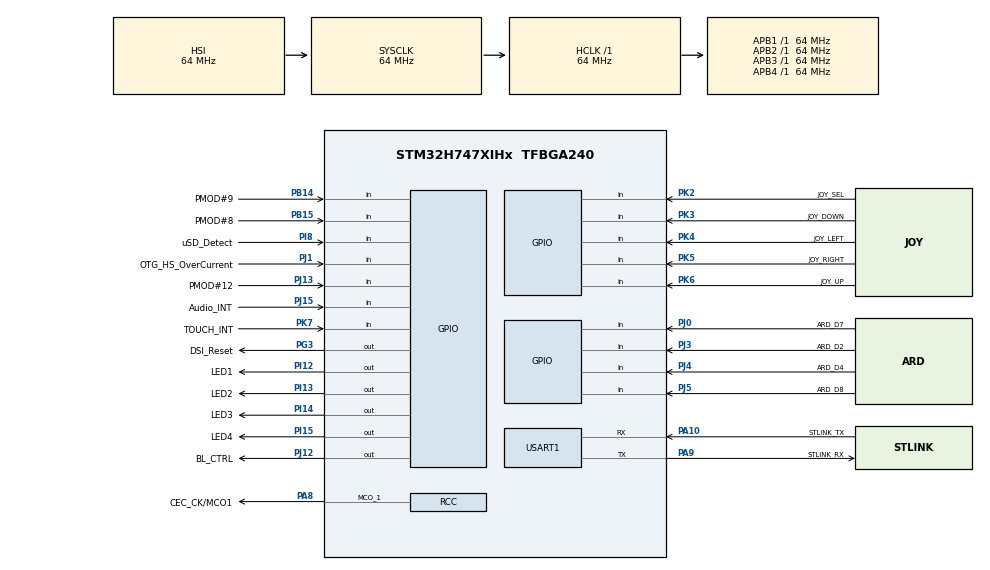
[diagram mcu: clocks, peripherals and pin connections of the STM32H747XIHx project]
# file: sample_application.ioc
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CortexM4.IPs=BDMA,DMA,FATFS_M4\:I,FREERTOS_M4\:I,IWDG2\:I,MDMA,NVIC2\:I,RCC,USB_DEVICE_M4\:I,USB_HOST_M4\:I,WWDG2\:I,DEBUG,PDM2PCM_M4\:I,PWR,RESMGR_UTILITY,SYS_M4\:I,CORTEX_M4\:I,OPENAMP_M4\:I,VREFBUF,GPIO
CortexM7.IPs=BDMA\:I,DMA\:I,FATFS_M7\:I,FREERTOS_M7\:I,IWDG1\:I,MDMA\:I,NVIC1\:I,RCC\:I,USB_DEVICE_M7\:I,USB_HOST_M7\:I,WWDG1\:I,USART1\:I,CORTEX_M7\:I,DEBUG\:I,PDM2PCM_M7\:I,PWR\:I,RESMGR_UTILITY\:I,SYS\:I,OPENAMP_M7\:I,VREFBUF\:I,GPIO\:I
CortexM7.Pins=PI12,PI13,PI14,PI15
DSI_CKN.Signal=DSIHOST_CKN
DSI_CKP.Signal=DSIHOST_CKP
DSI_D0N.Signal=DSIHOST_D0N
DSI_D0P.Signal=DSIHOST_D0P
DSI_D1N.Signal=DSIHOST_D1N
DSI_D1P.Signal=DSIHOST_D1P
Mcu.Family=STM32H7
Mcu.Name=STM32H747XIHx
Mcu.Package=TFBGA240
NVIC1.PriorityGroup=NVIC_PRIORITYGROUP_4
NVIC2.PriorityGroup=NVIC_PRIORITYGROUP_4
PA0_C.GPIO_Label=ARD_A2
PA0_C.PinAttribute=CortexM4
PA0_C.Signal=ADCx_INP0
PA1.GPIO_Label=ETH_REF_CLK
PA1.PinAttribute=CortexM4
PA1.Signal=ETH_REF_CLK
PA10.GPIO_Label=STLINK_TX
PA10.Mode=Asynchronous
PA10.PinAttribute=CortexM7
PA10.Signal=USART1_RX
PA11.GPIO_Label=PMOD\#1
PA11.PinAttribute=CortexM4
PA11.Signal=SPI2_NSS
PA12.GPIO_Label=SPI2_SCK
PA12.PinAttribute=CortexM4
PA12.Signal=SPI2_SCK
PA1_C.GPIO_Label=ARD_A3
PA1_C.PinAttribute=CortexM4
PA1_C.Signal=ADCx_INP1
PA2.GPIO_Label=ETH_MDIO
PA2.PinAttribute=CortexM4
PA2.Signal=ETH_MDIO
PA3.GPIO_Label=ULPI_D0
PA3.PinAttribute=CortexM4
PA3.Signal=USB_OTG_HS_ULPI_D0
PA5.GPIO_Label=ULPI_CK
PA5.PinAttribute=CortexM4
PA5.Signal=USB_OTG_HS_ULPI_CK
PA7.GPIO_Label=ETH_CRS_DV
PA7.PinAttribute=CortexM4
PA7.Signal=ETH_CRS_DV
PA8.GPIO_Label=CEC_CK/MCO1
PA8.Mode=Clock-out-1
PA8.PinAttribute=CortexM7
PA8.Signal=RCC_MCO_1
PA9.GPIO_Label=STLINK_RX
PA9.Mode=Asynchronous
PA9.PinAttribute=CortexM7
PA9.Signal=USART1_TX
PB0.GPIO_Label=ULPI_D1
PB0.PinAttribute=CortexM4
PB0.Signal=USB_OTG_HS_ULPI_D1
PB1.GPIO_Label=ULPI_D2
PB1.PinAttribute=CortexM4
PB1.Signal=USB_OTG_HS_ULPI_D2
PB10.GPIO_Label=ULPI_D3
PB10.PinAttribute=CortexM4
PB10.Signal=USB_OTG_HS_ULPI_D3
PB11.GPIO_Label=ULPI_D4
PB11.PinAttribute=CortexM4
PB11.Signal=USB_OTG_HS_ULPI_D4
PB12.GPIO_Label=ULPI_D5
PB12.PinAttribute=CortexM4
PB12.Signal=USB_OTG_HS_ULPI_D5
PB13.GPIO_Label=ULPI_D6
PB13.PinAttribute=CortexM4
PB13.Signal=USB_OTG_HS_ULPI_D6
PB14.GPIO_Label=PMOD\#9
PB14.PinAttribute=Free
PB14.Signal=GPIO_Input
PB15.GPIO_Label=PMOD\#8
PB15.PinAttribute=Free
PB15.Signal=GPIO_Input
PB2.GPIO_Label=QSPI_CLK
PB2.PinAttribute=CortexM4
PB2.Signal=QUADSPI_CLK
PB5.GPIO_Label=ULPI_D7
PB5.PinAttribute=CortexM4
PB5.Signal=USB_OTG_HS_ULPI_D7
PB6.GPIO_Label=HDMI_CEC
PB6.PinAttribute=CortexM4
PB6.Signal=CEC
PC0.GPIO_Label=ULPI_STP
PC0.PinAttribute=CortexM4
PC0.Signal=USB_OTG_HS_ULPI_STP
PC1.GPIO_Label=ETH_MDC/SAI4_D1
PC1.PinAttribute=CortexM4
PC1.Signal=ETH_MDC
PC10.GPIO_Label=SDIO1_D2
PC10.PinAttribute=CortexM4
PC10.Signal=SDMMC1_D2
PC12.GPIO_Label=SDIO1_CK
PC12.PinAttribute=CortexM4
PC12.Signal=SDMMC1_CK
PC13.GPIO_Label=B2 [Wakeup Button]
PC13.PinAttribute=CortexM4
PC13.Signal=RTC_TAMP1
PC14-OSC32_IN\ (OSC32_IN).GPIO_Label=OSC32_IN
PC14-OSC32_IN\ (OSC32_IN).Mode=LSE-External-Oscillator
PC14-OSC32_IN\ (OSC32_IN).PinAttribute=CortexM7
PC14-OSC32_IN\ (OSC32_IN).Signal=RCC_OSC32_IN
PC15-OSC32_OUT\ (OSC32_OUT).GPIO_Label=OSC32_OUT
PC15-OSC32_OUT\ (OSC32_OUT).Mode=LSE-External-Oscillator
PC15-OSC32_OUT\ (OSC32_OUT).PinAttribute=CortexM7
PC15-OSC32_OUT\ (OSC32_OUT).Signal=RCC_OSC32_OUT
PC2.GPIO_Label=PMOD\#3
PC2.PinAttribute=CortexM4
PC2.Signal=SPI2_MISO
PC2_C.GPIO_Label=ARD_A4
PC2_C.PinAttribute=CortexM4
PC2_C.Signal=ADC3_INP0
PC3.GPIO_Label=PMOD\#2
PC3.PinAttribute=CortexM4
PC3.Signal=SPI2_MOSI
PC3_C.GPIO_Label=ARD_A5
PC3_C.PinAttribute=CortexM4
PC3_C.Signal=ADC3_INP1
PC4.GPIO_Label=ETH_RXD0
PC4.PinAttribute=CortexM4
PC4.Signal=ETH_RXD0
PC5.GPIO_Label=ETH_RXD1
PC5.PinAttribute=CortexM4
PC5.Signal=ETH_RXD1
PC8.GPIO_Label=SDIO1_D0
PC8.PinAttribute=CortexM4
PC8.Signal=SDMMC1_D0
PD0.GPIO_Label=FMC_D2
PD0.PinAttribute=CortexM4
PD0.Signal=FMC_D2_DA2
PD1.GPIO_Label=FMC_D3
PD1.PinAttribute=CortexM4
PD1.Signal=FMC_D3_DA3
PD10.GPIO_Label=FMC_D15
PD10.PinAttribute=CortexM4
PD10.Signal=FMC_D15_DA15
PD11.GPIO_Label=QSPI_BK1_IO0
PD11.PinAttribute=CortexM4
PD11.Signal=QUADSPI_BK1_IO0
PD12.Signal=I2C4_SCL
PD13.Signal=I2C4_SDA
PD14.GPIO_Label=FMC_D0
PD14.PinAttribute=CortexM4
PD14.Signal=FMC_D0_DA0
PD15.GPIO_Label=FMC_D1
PD15.PinAttribute=CortexM4
PD15.Signal=FMC_D1_DA1
PD2.GPIO_Label=SDIO1_CMD
PD2.PinAttribute=CortexM4
PD2.Signal=SDMMC1_CMD
PD7.GPIO_Label=SPDIF_RX0
PD7.PinAttribute=CortexM4
PD7.Signal=SPDIFRX1_IN0
PD8.GPIO_Label=FMC_D13
PD8.PinAttribute=CortexM4
PD8.Signal=FMC_D13_DA13
PD9.GPIO_Label=FMC_D14
PD9.PinAttribute=CortexM4
PD9.Signal=FMC_D14_DA14
PE0.GPIO_Label=FMC_NBL0
PE0.PinAttribute=CortexM4
PE0.Signal=FMC_NBL0
PE1.GPIO_Label=FMC_NBL1
PE1.PinAttribute=CortexM4
PE1.Signal=FMC_NBL1
PE10.GPIO_Label=FMC_D7
PE10.PinAttribute=CortexM4
PE10.Signal=FMC_D7_DA7
PE11.GPIO_Label=FMC_D8
PE11.PinAttribute=CortexM4
PE11.Signal=FMC_D8_DA8
PE12.GPIO_Label=FMC_D9
PE12.PinAttribute=CortexM4
PE12.Signal=FMC_D9_DA9
PE13.GPIO_Label=FMC_D10
PE13.PinAttribute=CortexM4
PE13.Signal=FMC_D10_DA10
PE14.GPIO_Label=FMC_D11
PE14.PinAttribute=CortexM4
PE14.Signal=FMC_D11_DA11
PE15.GPIO_Label=FMC_D12
PE15.PinAttribute=CortexM4
PE15.Signal=FMC_D12_DA12
PE3.GPIO_Label=SAI1_SD_B
PE3.PinAttribute=CortexM4
PE3.Signal=SAI1_SD_B
PE4.GPIO_Label=SAI1_FS_A
PE4.PinAttribute=CortexM4
PE4.Signal=SAI1_FS_A
PE5.GPIO_Label=SAI1_SCK_A
PE5.PinAttribute=CortexM4
PE5.Signal=SAI1_SCK_A
PE6.GPIO_Label=SAI1_SD_A
PE6.PinAttribute=CortexM4
PE6.Signal=SAI1_SD_A
PE7.GPIO_Label=FMC_D4
PE7.PinAttribute=CortexM4
PE7.Signal=FMC_D4_DA4
PE8.GPIO_Label=FMC_D5
PE8.PinAttribute=CortexM4
PE8.Signal=FMC_D5_DA5
PE9.GPIO_Label=FMC_D6
PE9.PinAttribute=CortexM4
PE9.Signal=FMC_D6_DA6
PF0.GPIO_Label=FMC_A0
PF0.PinAttribute=CortexM4
PF0.Signal=FMC_A0
PF1.GPIO_Label=FMC_A1
PF1.PinAttribute=CortexM4
PF1.Signal=FMC_A1
PF10.GPIO_Label=ARD_A1
PF10.PinAttribute=CortexM4
PF10.Signal=ADC3_INP6
PF11.GPIO_Label=FMC_SDRAS
PF11.PinAttribute=CortexM4
PF11.Signal=FMC_SDNRAS
PF12.GPIO_Label=FMC_A6
PF12.PinAttribute=CortexM4
PF12.Signal=FMC_A6
PF13.GPIO_Label=FMC_A7
PF13.PinAttribute=CortexM4
PF13.Signal=FMC_A7
PF14.GPIO_Label=FMC_A8
PF14.PinAttribute=CortexM4
PF14.Signal=FMC_A8
PF15.GPIO_Label=FMC_A9
PF15.PinAttribute=CortexM4
PF15.Signal=FMC_A9
PF2.GPIO_Label=FMC_A2
PF2.PinAttribute=CortexM4
PF2.Signal=FMC_A2
PF3.GPIO_Label=FMC_A3
PF3.PinAttribute=CortexM4
PF3.Signal=FMC_A3
PF4.GPIO_Label=FMC_A4
PF4.PinAttribute=CortexM4
PF4.Signal=FMC_A4
PF5.GPIO_Label=FMC_A5
PF5.PinAttribute=CortexM4
PF5.Signal=FMC_A5
PF6.GPIO_Label=QSPI_BK1_IO3
PF6.PinAttribute=CortexM4
PF6.Signal=QUADSPI_BK1_IO3
PF7.GPIO_Label=QSPI_BK1_IO2
PF7.PinAttribute=CortexM4
PF7.Signal=QUADSPI_BK1_IO2
PF8.GPIO_Label=PMOD\#14/ARD_D3
PF8.PinAttribute=CortexM4
PF8.Signal=S_TIM13_CH1
PF9.GPIO_Label=QSPI_BK1_IO1
PF9.PinAttribute=CortexM4
PF9.Signal=QUADSPI_BK1_IO1
PG0.GPIO_Label=FMC_A10
PG0.PinAttribute=CortexM4
PG0.Signal=FMC_A10
PG1.GPIO_Label=FMC_A11
PG1.PinAttribute=CortexM4
PG1.Signal=FMC_A11
PG11.GPIO_Label=ETH_TX_EN
PG11.PinAttribute=CortexM4
PG11.Signal=ETH_TX_EN
PG12.GPIO_Label=ETH_TXD1
PG12.PinAttribute=CortexM4
PG12.Signal=ETH_TXD1
PG13.GPIO_Label=ETH_TXD0
PG13.PinAttribute=CortexM4
PG13.Signal=ETH_TXD0
PG14.GPIO_Label=QSPI_BK2_IO3
PG14.PinAttribute=CortexM4
PG14.Signal=QUADSPI_BK2_IO3
PG15.GPIO_Label=FMC_SDCAS
PG15.PinAttribute=CortexM4
PG15.Signal=FMC_SDNCAS
PG2.GPIO_Label=FMC_A12
PG2.PinAttribute=CortexM4
PG2.Signal=FMC_A12
PG3.GPIO_Label=DSI_Reset
PG3.PinAttribute=Free
PG3.Signal=GPIO_Output
PG4.GPIO_Label=FMC_BA0
PG4.PinAttribute=CortexM4
PG4.Signal=FMC_A14_BA0
PG6.GPIO_Label=QSPI_BK1_NCS
PG6.PinAttribute=CortexM4
PG6.Signal=QUADSPI_BK1_NCS
PG7.GPIO_Label=SAI1_MCLK_A
PG7.PinAttribute=CortexM4
PG7.Signal=SAI1_MCLK_A
PG8.GPIO_Label=FMC_SDCLK
PG8.PinAttribute=CortexM4
PG8.Signal=FMC_SDCLK
PG9.GPIO_Label=QSPI_BK2_IO2
PG9.PinAttribute=CortexM4
PG9.Signal=QUADSPI_BK2_IO2
PH0-OSC_IN\ (PH0).GPIO_Label=OSC_IN
PH0-OSC_IN\ (PH0).Mode=HSE-External-Oscillator
PH0-OSC_IN\ (PH0).PinAttribute=CortexM7
PH0-OSC_IN\ (PH0).Signal=RCC_OSC_IN
PH1-OSC_OUT\ (PH1).GPIO_Label=OSC_OUT
PH1-OSC_OUT\ (PH1).Mode=HSE-External-Oscillator
PH1-OSC_OUT\ (PH1).PinAttribute=CortexM7
PH1-OSC_OUT\ (PH1).Signal=RCC_OSC_OUT
PH10.GPIO_Label=FMC_D18
PH10.PinAttribute=CortexM4
PH10.Signal=FMC_D18
PH11.GPIO_Label=FMC_D19
PH11.PinAttribute=CortexM4
PH11.Signal=FMC_D19
PH12.GPIO_Label=FMC_D20
PH12.PinAttribute=CortexM4
PH12.Signal=FMC_D20
PH13.GPIO_Label=FMC_D21
PH13.PinAttribute=CortexM4
PH13.Signal=FMC_D21
PH14.GPIO_Label=FMC_D22
PH14.PinAttribute=CortexM4
PH14.Signal=FMC_D22
PH15.GPIO_Label=FMC_D23
PH15.PinAttribute=CortexM4
PH15.Signal=FMC_D23
PH2.GPIO_Label=QSPI_BK2_IO0
PH2.PinAttribute=CortexM4
PH2.Signal=QUADSPI_BK2_IO0
PH3.GPIO_Label=QSPI_BK2_IO1
PH3.PinAttribute=CortexM4
PH3.Signal=QUADSPI_BK2_IO1
PH4.GPIO_Label=ULPI_NXT
PH4.PinAttribute=CortexM4
PH4.Signal=USB_OTG_HS_ULPI_NXT
PH5.GPIO_Label=FMC_SDNWE
PH5.PinAttribute=CortexM4
PH5.Signal=FMC_SDNWE
PH6.GPIO_Label=FMC_SDNE1
PH6.PinAttribute=CortexM4
PH6.Signal=FMC_SDNE1
PH7.GPIO_Label=FMC_SDCKE1
PH7.PinAttribute=CortexM4
PH7.Signal=FMC_SDCKE1
PH8.GPIO_Label=FMC_D16
PH8.PinAttribute=CortexM4
PH8.Signal=FMC_D16
PH9.GPIO_Label=FMC_D17
PH9.PinAttribute=CortexM4
PH9.Signal=FMC_D17
PI0.GPIO_Label=FMC_D24
PI0.PinAttribute=CortexM4
PI0.Signal=FMC_D24
PI1.GPIO_Label=FMC_D25
PI1.PinAttribute=CortexM4
PI1.Signal=FMC_D25
PI10.GPIO_Label=FMC_D31
PI10.PinAttribute=CortexM4
PI10.Signal=FMC_D31
PI11.GPIO_Label=ULPI_DIR
PI11.PinAttribute=CortexM4
PI11.Signal=USB_OTG_HS_ULPI_DIR
PI12.GPIO_Label=LED1
PI12.GPIO_PuPd=GPIO_PULLUP
PI12.PinAttribute=CortexM7
PI12.Signal=GPIO_Output
PI13.GPIO_Label=LED2
PI13.GPIO_PuPd=GPIO_PULLUP
PI13.PinAttribute=CortexM7
PI13.Signal=GPIO_Output
PI14.GPIO_Label=LED3
PI14.GPIO_PuPd=GPIO_PULLUP
PI14.PinAttribute=CortexM7
PI14.Signal=GPIO_Output
PI15.GPIO_Label=LED4
PI15.GPIO_PuPd=GPIO_PULLUP
PI15.PinAttribute=CortexM7
PI15.Signal=GPIO_Output
PI2.GPIO_Label=FMC_D26
PI2.PinAttribute=CortexM4
PI2.Signal=FMC_D26
PI3.GPIO_Label=FMC_D27
PI3.PinAttribute=CortexM4
PI3.Signal=FMC_D27
PI4.GPIO_Label=FMC_NBL2
PI4.PinAttribute=CortexM4
PI4.Signal=FMC_NBL2
PI5.GPIO_Label=FMC_NBL3
PI5.PinAttribute=CortexM4
PI5.Signal=FMC_NBL3
PI6.GPIO_Label=FMC_D28
PI6.PinAttribute=CortexM4
PI6.Signal=FMC_D28
PI7.GPIO_Label=FMC_D29
PI7.PinAttribute=CortexM4
PI7.Signal=FMC_D29
PI8.GPIO_Label=uSD_Detect
PI8.PinAttribute=Free
PI8.Signal=GPIO_Input
PI9.GPIO_Label=FMC_D30
PI9.PinAttribute=CortexM4
PI9.Signal=FMC_D30
PJ0.GPIO_Label=ARD_D7
PJ0.PinAttribute=Free
PJ0.Signal=GPIO_Input
PJ1.GPIO_Label=OTG_HS_OverCurrent
PJ1.PinAttribute=Free
PJ1.Signal=GPIO_Input
PJ10.GPIO_Label=ARD_D11
PJ10.PinAttribute=CortexM4
PJ10.Signal=SPI5_MOSI
PJ11.GPIO_Label=ARD_D12
PJ11.PinAttribute=CortexM4
PJ11.Signal=SPI5_MISO
PJ12.GPIO_Label=BL_CTRL
PJ12.PinAttribute=Free
PJ12.Signal=GPIO_Output
PJ13.GPIO_Label=PMOD\#12
PJ13.PinAttribute=Free
PJ13.Signal=GPIO_Input
PJ15.GPIO_Label=Audio_INT
PJ15.PinAttribute=Free
PJ15.Signal=GPIO_Input
PJ2.GPIO_Label=DSI_TE
PJ2.Signal=DSIHOST_TE
PJ3.GPIO_Label=ARD_D2
PJ3.PinAttribute=Free
PJ3.Signal=GPIO_Input
PJ4.GPIO_Label=ARD_D4
PJ4.PinAttribute=Free
PJ4.Signal=GPIO_Input
PJ5.GPIO_Label=ARD_D8
PJ5.PinAttribute=Free
PJ5.Signal=GPIO_Input
PJ6.GPIO_Label=ARD_D9
PJ6.PinAttribute=CortexM4
PJ6.Signal=S_TIM8_CH2
PJ7.GPIO_Label=ARD_D6
PJ7.PinAttribute=CortexM4
PJ7.Signal=TIM8_CH2N
PJ8.GPIO_Label=ARD_D1
PJ8.PinAttribute=CortexM4
PJ8.Signal=UART8_TX
PJ9.GPIO_Label=ARD_D0
PJ9.PinAttribute=CortexM4
PJ9.Signal=UART8_RX
PK0.GPIO_Label=ARD_D13
PK0.PinAttribute=CortexM4
PK0.Signal=SPI5_SCK
PK1.GPIO_Label=ARD_D10
PK1.PinAttribute=CortexM4
PK1.Signal=SPI5_NSS
PK2.GPIO_Label=JOY_SEL
PK2.PinAttribute=Free
PK2.Signal=GPIO_Input
PK3.GPIO_Label=JOY_DOWN
PK3.PinAttribute=Free
PK3.Signal=GPIO_Input
PK4.GPIO_Label=JOY_LEFT
PK4.PinAttribute=Free
PK4.Signal=GPIO_Input
PK5.GPIO_Label=JOY_RIGHT
PK5.PinAttribute=Free
PK5.Signal=GPIO_Input
PK6.GPIO_Label=JOY_UP
PK6.PinAttribute=Free
PK6.Signal=GPIO_Input
PK7.GPIO_Label=TOUCH_INT
PK7.PinAttribute=Free
PK7.Signal=GPIO_Input
ProjectManager.HeapSize=M4-0x200,M7-0x200
ProjectManager.StackSize=M4-0x400,M7-0x400
ProjectManager.TargetToolchain=STM32CubeIDE
RCC.ADCFreq_Value=75000000
RCC.APB1Freq_Value=64000000
RCC.APB2Freq_Value=64000000
RCC.APB3Freq_Value=64000000
RCC.APB4Freq_Value=64000000
RCC.CortexFreq_Value=64000000
RCC.DIVM1=5
RCC.DIVM2=2
RCC.DIVN1=48
RCC.DIVN2=12
RCC.DIVQ1=5
RCC.HCLKFreq_Value=64000000
RCC.PLL2FRACN=0
RCC.PLL3FRACN=0
RCC.PLLFRACN=0
RCC.PLLSourceVirtual=RCC_PLLSOURCE_HSE
RCC.PWR_Regulator_Voltage_Scale=PWR_REGULATOR_VOLTAGE_SCALE1
RCC.SYSCLKFreq_VALUE=64000000
RCC.SupplySource=PWR_DIRECT_SMPS_SUPPLY
RCC.USBFreq_Value=48000000
SH.ADCx_INP0.0=ADC1_INP0
SH.ADCx_INP1.0=ADC1_INP1
SH.FMC_A0.0=FMC_A0
SH.FMC_A1.0=FMC_A1
SH.FMC_A10.0=FMC_A10
SH.FMC_A11.0=FMC_A11
SH.FMC_A12.0=FMC_A12
SH.FMC_A14_BA0.0=FMC_BA0
SH.FMC_A2.0=FMC_A2
SH.FMC_A3.0=FMC_A3
SH.FMC_A4.0=FMC_A4
SH.FMC_A5.0=FMC_A5
SH.FMC_A6.0=FMC_A6
SH.FMC_A7.0=FMC_A7
SH.FMC_A8.0=FMC_A8
SH.FMC_A9.0=FMC_A9
SH.FMC_D0_DA0.0=FMC_D0
SH.FMC_D10_DA10.0=FMC_D10
SH.FMC_D11_DA11.0=FMC_D11
SH.FMC_D12_DA12.0=FMC_D12
SH.FMC_D13_DA13.0=FMC_D13
SH.FMC_D14_DA14.0=FMC_D14
SH.FMC_D15_DA15.0=FMC_D15
SH.FMC_D16.0=FMC_D16
SH.FMC_D17.0=FMC_D17
SH.FMC_D18.0=FMC_D18
SH.FMC_D19.0=FMC_D19
SH.FMC_D1_DA1.0=FMC_D1
SH.FMC_D20.0=FMC_D20
SH.FMC_D21.0=FMC_D21
SH.FMC_D22.0=FMC_D22
SH.FMC_D23.0=FMC_D23
SH.FMC_D24.0=FMC_D24
SH.FMC_D25.0=FMC_D25
SH.FMC_D26.0=FMC_D26
SH.FMC_D27.0=FMC_D27
SH.FMC_D28.0=FMC_D28
SH.FMC_D29.0=FMC_D29
SH.FMC_D2_DA2.0=FMC_D2
SH.FMC_D30.0=FMC_D30
SH.FMC_D31.0=FMC_D31
SH.FMC_D3_DA3.0=FMC_D3
SH.FMC_D4_DA4.0=FMC_D4
SH.FMC_D5_DA5.0=FMC_D5
SH.FMC_D6_DA6.0=FMC_D6
SH.FMC_D7_DA7.0=FMC_D7
SH.FMC_D8_DA8.0=FMC_D8
SH.FMC_D9_DA9.0=FMC_D9
SH.FMC_NBL0.0=FMC_NBL0
SH.FMC_NBL1.0=FMC_NBL1
SH.FMC_NBL2.0=FMC_NBL2
SH.FMC_NBL3.0=FMC_NBL3
SH.FMC_SDCLK.0=FMC_SDCLK
SH.FMC_SDNCAS.0=FMC_SDNCAS
SH.FMC_SDNRAS.0=FMC_SDNRAS
SH.FMC_SDNWE.0=FMC_SDNWE
SH.S_TIM13_CH1.0=TIM13_CH1
SH.S_TIM8_CH2.0=TIM8_CH2
USART1.VirtualMode-Asynchronous=VM_ASYNC
VP_SYS_M4_VS_Systick.Mode=SysTick
board=STM32H747I-DISCO

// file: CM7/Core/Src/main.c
/* USER CODE BEGIN Header */
/**
  ******************************************************************************
  * @file           : main.c
  * @brief          : Main program body
  ******************************************************************************
  * @attention
  *
  * Copyright (c) 2023 STMicroelectronics.
  * All rights reserved.
  *
  * This software is licensed under terms that can be found in the LICENSE file
  * in the root directory of this software component.
  * If no LICENSE file comes with this software, it is provided AS-IS.
  *
  ******************************************************************************
  */
/* USER CODE END Header */
#include "main.h"

/* USER CODE BEGIN Includes */
#include <stdio.h>

/* USER CODE END Includes */

/* USER CODE BEGIN PD */

#ifndef HSEM_ID_0
#define HSEM_ID_0 (0U) /* HW semaphore 0*/
#endif

/* USER CODE END PD */

/* USER CODE BEGIN PM */
/* Application version */
#define	A_MAJOR_VER		0
#define A_MINOR_VER		2

/* USER CODE END PM */

UART_HandleTypeDef huart1;

/* USER CODE BEGIN PV */
const uint8_t application_ver[2] = { A_MAJOR_VER, A_MINOR_VER };

/* USER CODE END PV */

void SystemClock_Config(void);
static void MX_GPIO_Init(void);
static void MX_USART1_UART_Init(void);

int main(void)
{
/* USER CODE BEGIN Boot_Mode_Sequence_0 */
//  int32_t timeout;
/* USER CODE END Boot_Mode_Sequence_0 */

/* USER CODE BEGIN Boot_Mode_Sequence_1 */
  /* Wait until CPU2 boots and enters in stop mode or timeout*/
//  timeout = 0xFFFF;
//  while((__HAL_RCC_GET_FLAG(RCC_FLAG_D2CKRDY) != RESET) && (timeout-- > 0));
//  if ( timeout < 0 )
//  {
//  Error_Handler();
//  }
/* USER CODE END Boot_Mode_Sequence_1 */
  /* MCU Configuration--------------------------------------------------------*/

  /* Reset of all peripherals, Initializes the Flash interface and the Systick. */
  HAL_Init();

  /* Configure the system clock */
  SystemClock_Config();
/* USER CODE BEGIN Boot_Mode_Sequence_2 */
/* When system initialization is finished, Cortex-M7 will release Cortex-M4 by means of
HSEM notification */
/*HW semaphore Clock enable*/
__HAL_RCC_HSEM_CLK_ENABLE();
/*Take HSEM */
HAL_HSEM_FastTake(HSEM_ID_0);
/*Release HSEM in order to notify the CPU2(CM4)*/
HAL_HSEM_Release(HSEM_ID_0,0);
/* wait until CPU2 wakes up from stop mode */
//timeout = 0xFFFF;
//while((__HAL_RCC_GET_FLAG(RCC_FLAG_D2CKRDY) == RESET) && (timeout-- > 0));
//if ( timeout < 0 )
//{
//Error_Handler();
//}
/* USER CODE END Boot_Mode_Sequence_2 */

  /* Initialize all configured peripherals */
  MX_GPIO_Init();
  MX_USART1_UART_Init();
  /* USER CODE BEGIN 2 */
  printf("Starting Application v%d.%d (CM7)\r\n",application_ver[0], application_ver[1]);

  /* USER CODE END 2 */

  /* Infinite loop */
  while (1)
  {

    /* USER CODE BEGIN 3 */
	  HAL_GPIO_TogglePin(LED1_GPIO_Port, LED1_Pin);

	  HAL_GPIO_TogglePin(LED2_GPIO_Port, LED2_Pin);

	  HAL_GPIO_TogglePin(LED3_GPIO_Port, LED3_Pin);

	  HAL_GPIO_TogglePin(LED4_GPIO_Port, LED4_Pin);

	  printf("Application running...\r\n");
	  HAL_Delay(1000);
  }
  /* USER CODE END 3 */
}

void SystemClock_Config(void)
{
  RCC_OscInitTypeDef RCC_OscInitStruct = {0};
  RCC_ClkInitTypeDef RCC_ClkInitStruct = {0};

  /** Supply configuration update enable
  */
  HAL_PWREx_ConfigSupply(PWR_DIRECT_SMPS_SUPPLY);

  /** Configure the main internal regulator output voltage
  */
  __HAL_PWR_VOLTAGESCALING_CONFIG(PWR_REGULATOR_VOLTAGE_SCALE1);

  while(!__HAL_PWR_GET_FLAG(PWR_FLAG_VOSRDY)) {}

  /** Initializes the RCC Oscillators according to the specified parameters
  * in the RCC_OscInitTypeDef structure.
  */
  RCC_OscInitStruct.OscillatorType = RCC_OSCILLATORTYPE_HSI;
  RCC_OscInitStruct.HSIState = RCC_HSI_DIV1;
  RCC_OscInitStruct.HSICalibrationValue = RCC_HSICALIBRATION_DEFAULT;
  RCC_OscInitStruct.PLL.PLLState = RCC_PLL_NONE;
  if (HAL_RCC_OscConfig(&RCC_OscInitStruct) != HAL_OK)
  {
    Error_Handler();
  }

  /** Initializes the CPU, AHB and APB buses clocks
  */
  RCC_ClkInitStruct.ClockType = RCC_CLOCKTYPE_HCLK|RCC_CLOCKTYPE_SYSCLK
                              |RCC_CLOCKTYPE_PCLK1|RCC_CLOCKTYPE_PCLK2
                              |RCC_CLOCKTYPE_D3PCLK1|RCC_CLOCKTYPE_D1PCLK1;
  RCC_ClkInitStruct.SYSCLKSource = RCC_SYSCLKSOURCE_HSI;
  RCC_ClkInitStruct.SYSCLKDivider = RCC_SYSCLK_DIV1;
  RCC_ClkInitStruct.AHBCLKDivider = RCC_HCLK_DIV1;
  RCC_ClkInitStruct.APB3CLKDivider = RCC_APB3_DIV1;
  RCC_ClkInitStruct.APB1CLKDivider = RCC_APB1_DIV1;
  RCC_ClkInitStruct.APB2CLKDivider = RCC_APB2_DIV1;
  RCC_ClkInitStruct.APB4CLKDivider = RCC_APB4_DIV1;

  if (HAL_RCC_ClockConfig(&RCC_ClkInitStruct, FLASH_LATENCY_0) != HAL_OK)
  {
    Error_Handler();
  }
  HAL_RCC_MCOConfig(RCC_MCO1, RCC_MCO1SOURCE_HSI, RCC_MCODIV_1);
}

static void MX_USART1_UART_Init(void)
{

  huart1.Instance = USART1;
  huart1.Init.BaudRate = 115200;
  huart1.Init.WordLength = UART_WORDLENGTH_8B;
  huart1.Init.StopBits = UART_STOPBITS_1;
  huart1.Init.Parity = UART_PARITY_NONE;
  huart1.Init.Mode = UART_MODE_TX_RX;
  huart1.Init.HwFlowCtl = UART_HWCONTROL_NONE;
  huart1.Init.OverSampling = UART_OVERSAMPLING_16;
  huart1.Init.OneBitSampling = UART_ONE_BIT_SAMPLE_DISABLE;
  huart1.Init.ClockPrescaler = UART_PRESCALER_DIV1;
  huart1.AdvancedInit.AdvFeatureInit = UART_ADVFEATURE_NO_INIT;
  if (HAL_UART_Init(&huart1) != HAL_OK)
  {
    Error_Handler();
  }
  if (HAL_UARTEx_SetTxFifoThreshold(&huart1, UART_TXFIFO_THRESHOLD_1_8) != HAL_OK)
  {
    Error_Handler();
  }
  if (HAL_UARTEx_SetRxFifoThreshold(&huart1, UART_RXFIFO_THRESHOLD_1_8) != HAL_OK)
  {
    Error_Handler();
  }
  if (HAL_UARTEx_DisableFifoMode(&huart1) != HAL_OK)
  {
    Error_Handler();
  }

}

static void MX_GPIO_Init(void)
{
  GPIO_InitTypeDef GPIO_InitStruct = {0};

  /* GPIO Ports Clock Enable */
  __HAL_RCC_GPIOC_CLK_ENABLE();
  __HAL_RCC_GPIOA_CLK_ENABLE();
  __HAL_RCC_GPIOI_CLK_ENABLE();
  __HAL_RCC_GPIOH_CLK_ENABLE();

  /*Configure GPIO pin Output Level */
  HAL_GPIO_WritePin(GPIOI, LED1_Pin|LED2_Pin|LED3_Pin|LED4_Pin, GPIO_PIN_RESET);

  /*Configure GPIO pin : CEC_CK_MCO1_Pin */
  GPIO_InitStruct.Pin = CEC_CK_MCO1_Pin;
  GPIO_InitStruct.Mode = GPIO_MODE_AF_PP;
  GPIO_InitStruct.Pull = GPIO_NOPULL;
  GPIO_InitStruct.Speed = GPIO_SPEED_FREQ_LOW;
  GPIO_InitStruct.Alternate = GPIO_AF0_MCO;
  HAL_GPIO_Init(CEC_CK_MCO1_GPIO_Port, &GPIO_InitStruct);

  /*Configure GPIO pins : LED1_Pin LED2_Pin LED3_Pin LED4_Pin */
  GPIO_InitStruct.Pin = LED1_Pin|LED2_Pin|LED3_Pin|LED4_Pin;
  GPIO_InitStruct.Mode = GPIO_MODE_OUTPUT_PP;
  GPIO_InitStruct.Pull = GPIO_PULLUP;
  GPIO_InitStruct.Speed = GPIO_SPEED_FREQ_LOW;
  HAL_GPIO_Init(GPIOI, &GPIO_InitStruct);

}

/* USER CODE BEGIN 4 */
/**
  * @brief Print a character to UART ( to be used by printf).
  * @retval int
  */
#ifdef __GNUC__
int __io_putchar(int ch)
#else
int fputc(int ch, FILE *f)
#endif /* __GNUC__ */
{
  HAL_UART_Transmit(&huart1, (uint8_t *)&ch, 1, HAL_MAX_DELAY);

  return ch;
}

/* USER CODE END 4 */

void Error_Handler(void)
{
  __disable_irq();
  while (1)
  {
  }
}
